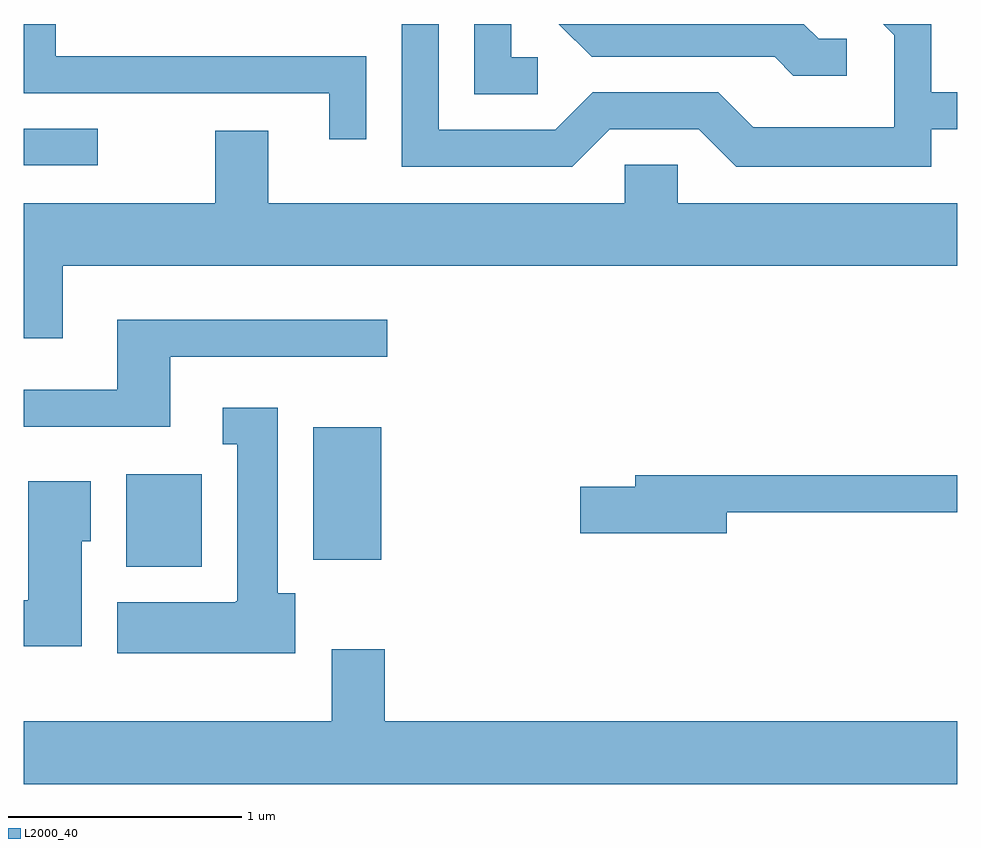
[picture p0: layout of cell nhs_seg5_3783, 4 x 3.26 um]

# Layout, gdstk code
import gdstk
lib = gdstk.Library(unit=1e-6, precision=1e-09)
def R(c, l, rs):  # rectangles x0, y0, x1, y1
    for r in rs: c.add(gdstk.rectangle(r[:2], r[2:], *l))
def P(c, l, *ps):  # polygons
    for p in ps: c.add(gdstk.Polygon(p, *l))
L2000_40 = (2000, 40)

nhs_seg5_3783 = lib.new_cell('nhs_seg5_3783')
R(nhs_seg5_3783, L2000_40, [(298.051,1437.746,298.374,1438.144), (298.851,1437.776,299.144,1438.344), (297.611,1439.466,297.928,1439.624)])
P(nhs_seg5_3783, L2000_40, [(299.079,1439.934),(297.749,1439.934),(297.749,1440.072),(297.611,1440.072),(297.611,1439.776),(298.921,1439.776),(298.921,1439.578),(299.079,1439.578)],
  [(299.813,1439.929),(299.699,1439.929),(299.699,1440.072),(299.541,1440.072),(299.541,1439.771),(299.813,1439.771)],
  [(301.138,1440.009),(301.017,1440.009),(300.954,1440.072),(299.903,1440.072),(300.044,1439.931),(300.829,1439.931),(300.909,1439.851),(301.138,1439.851)],
  [(300.122,1439.621),(300.504,1439.621),(300.664,1439.461),(301.499,1439.461),(301.499,1439.621),(301.611,1439.621),(301.611,1439.779),(301.499,1439.779),(301.499,1440.072),(301.293,1440.072),(301.341,1440.024),(301.341,1439.629),(300.737,1439.629),(300.587,1439.779),(300.049,1439.779),(299.889,1439.619),(299.389,1439.619),(299.389,1440.072),(299.231,1440.072),(299.231,1439.461),(299.962,1439.461)],
  [(297.779,1439.036),(301.611,1439.036),(301.611,1439.304),(300.414,1439.304),(300.414,1439.469),(300.186,1439.469),(300.186,1439.304),(298.659,1439.304),(298.659,1439.614),(298.431,1439.614),(298.431,1439.304),(297.611,1439.304),(297.611,1438.726),(297.779,1438.726)],
  [(298.239,1438.646),(299.168,1438.646),(299.168,1438.804),(298.011,1438.804),(298.011,1438.504),(297.611,1438.504),(297.611,1438.346),(298.239,1438.346)],
  [(298.774,1437.634),(298.699,1437.634),(298.699,1438.429),(298.463,1438.429),(298.463,1438.271),(298.526,1438.271),(298.526,1437.6),(298.52,1437.6),(298.52,1437.594),(298.011,1437.594),(298.011,1437.376),(298.774,1437.376)],
  [(300.624,1437.981),(301.611,1437.981),(301.611,1438.139),(300.231,1438.139),(300.231,1438.089),(299.996,1438.089),(299.996,1437.891),(300.624,1437.891)],
  [(297.859,1437.856),(297.899,1437.856),(297.899,1438.114),(297.631,1438.114),(297.631,1437.604),(297.611,1437.604),(297.611,1437.406),(297.859,1437.406)],
  [(301.611,1437.084),(299.159,1437.084),(299.159,1437.394),(298.931,1437.394),(298.931,1437.084),(297.611,1437.084),(297.611,1436.816),(301.611,1436.816)])

lib.write_gds('nhs_seg5_3783.gds')
